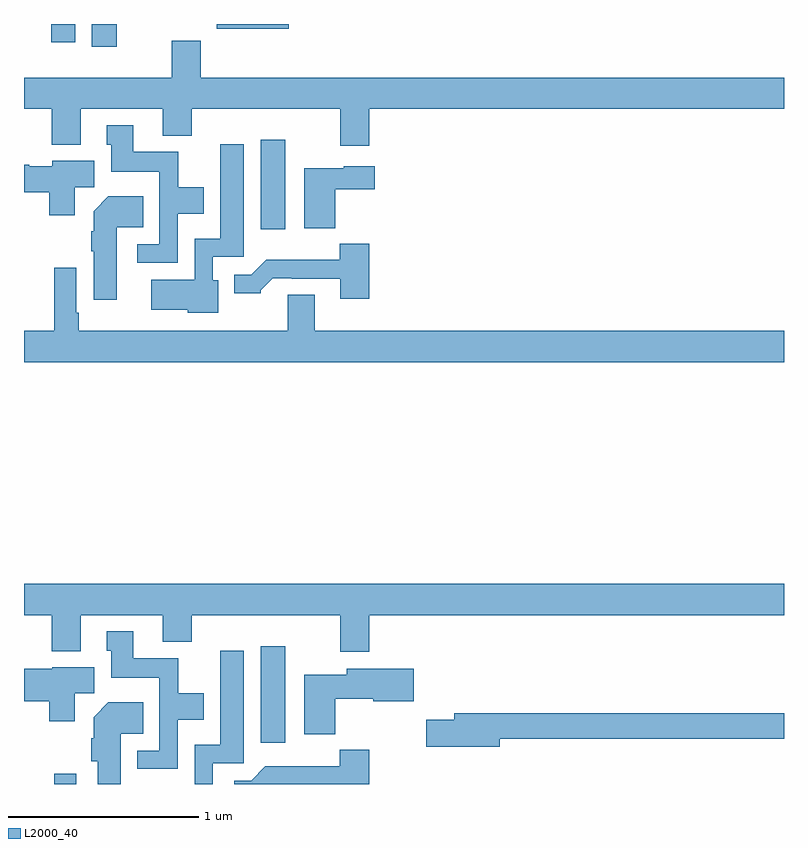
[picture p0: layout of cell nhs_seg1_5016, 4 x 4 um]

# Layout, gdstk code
import gdstk
lib = gdstk.Library(unit=1e-6, precision=1e-09)
def R(c, l, rs):  # rectangles x0, y0, x1, y1
    for r in rs: c.add(gdstk.rectangle(r[:2], r[2:], *l))
def P(c, l, *ps):  # polygons
    for p in ps: c.add(gdstk.Polygon(p, *l))
L2000_40 = (2000, 40)

nhs_seg1_5016 = lib.new_cell('nhs_seg1_5016')
R(nhs_seg1_5016, L2000_40, [(383.158,528.199,383.274,528.253), (384.245,528.417,384.376,528.925), (384.245,531.12,384.376,531.589), (383.357,532.08,383.488,532.199), (383.144,532.104,383.269,532.199), (384.014,532.175,384.394,532.199)])
P(nhs_seg1_5016, L2000_40, [(384.818,531.752),(387,531.752),(387,531.916),(383.93,531.916),(383.93,532.111),(383.777,532.111),(383.777,531.916),(383,531.916),(383,531.752),(383.147,531.752),(383.147,531.563),(383.299,531.563),(383.299,531.752),(383.729,531.752),(383.729,531.611),(383.882,531.611),(383.882,531.752),(384.665,531.752),(384.665,531.558),(384.818,531.558)],
  [(383.808,531.2),(383.947,531.2),(383.947,531.34),(383.811,531.34),(383.811,531.526),(383.575,531.526),(383.575,531.667),(383.435,531.667),(383.435,531.564),(383.459,531.564),(383.459,531.422),(383.712,531.422),(383.712,531.039),(383.595,531.039),(383.595,530.943),(383.808,530.943)],
  [(384.022,530.85),(383.994,530.85),(383.994,530.973),(384.157,530.973),(384.157,531.565),(384.032,531.565),(384.032,531.07),(383.898,531.07),(383.898,530.854),(383.67,530.854),(383.67,530.696),(383.862,530.696),(383.862,530.678),(384.022,530.678)],
  [(383.266,531.34),(383.371,531.34),(383.371,531.478),(383.148,531.478),(383.148,531.451),(383.028,531.451),(383.028,531.459),(383,531.459),(383,531.314),(383.132,531.314),(383.132,531.192),(383.266,531.192)],
  [(384.638,531.329),(384.847,531.329),(384.847,531.451),(384.684,531.451),(384.684,531.439),(384.476,531.439),(384.476,531.125),(384.638,531.125)],
  [(383.488,531.128),(383.627,531.128),(383.627,531.292),(383.444,531.292),(383.366,531.214),(383.366,531.107),(383.354,531.107),(383.354,531.004),(383.366,531.004),(383.366,530.748),(383.488,530.748)],
  [(384.818,531.043),(384.663,531.043),(384.663,530.959),(384.274,530.959),(384.195,530.88),(384.107,530.88),(384.107,530.783),(384.246,530.783),(384.246,530.798),(384.31,530.862),(384.409,530.862),(384.409,530.859),(384.665,530.859),(384.665,530.754),(384.818,530.754)],
  [(387,530.584),(384.529,530.584),(384.529,530.774),(384.389,530.774),(384.389,530.584),(383.287,530.584),(383.287,530.68),(383.274,530.68),(383.274,530.917),(383.158,530.917),(383.158,530.584),(383,530.584),(383,530.42),(387,530.42)],
  [(384.818,529.088),(387,529.088),(387,529.252),(383,529.252),(383,529.088),(383.147,529.088),(383.147,528.899),(383.299,528.899),(383.299,529.088),(383.729,529.088),(383.729,528.947),(383.882,528.947),(383.882,529.088),(384.665,529.088),(384.665,528.894),(384.818,528.894)],
  [(383.808,528.536),(383.947,528.536),(383.947,528.676),(383.811,528.676),(383.811,528.862),(383.575,528.862),(383.575,529.003),(383.435,529.003),(383.435,528.9),(383.459,528.9),(383.459,528.758),(383.712,528.758),(383.712,528.375),(383.595,528.375),(383.595,528.279),(383.808,528.279)],
  [(383.994,528.309),(384.157,528.309),(384.157,528.901),(384.032,528.901),(384.032,528.406),(383.898,528.406),(383.898,528.199),(383.994,528.199)],
  [(383.266,528.676),(383.371,528.676),(383.371,528.814),(383.148,528.814),(383.148,528.805),(383,528.805),(383,528.635),(383.132,528.635),(383.132,528.528),(383.266,528.528)],
  [(384.638,528.647),(384.837,528.647),(384.837,528.635),(385.051,528.635),(385.051,528.805),(384.698,528.805),(384.698,528.775),(384.476,528.775),(384.476,528.461),(384.638,528.461)],
  [(383.509,528.464),(383.627,528.464),(383.627,528.628),(383.444,528.628),(383.366,528.55),(383.366,528.44),(383.354,528.44),(383.354,528.318),(383.387,528.318),(383.387,528.199),(383.509,528.199)],
  [(385.504,528.436),(387,528.436),(387,528.572),(385.265,528.572),(385.265,528.536),(385.116,528.536),(385.116,528.394),(385.504,528.394)],
  [(384.818,528.379),(384.663,528.379),(384.663,528.292),(384.271,528.292),(384.195,528.216),(384.107,528.216),(384.107,528.199),(384.818,528.199)])

lib.write_gds('nhs_seg1_5016.gds')
